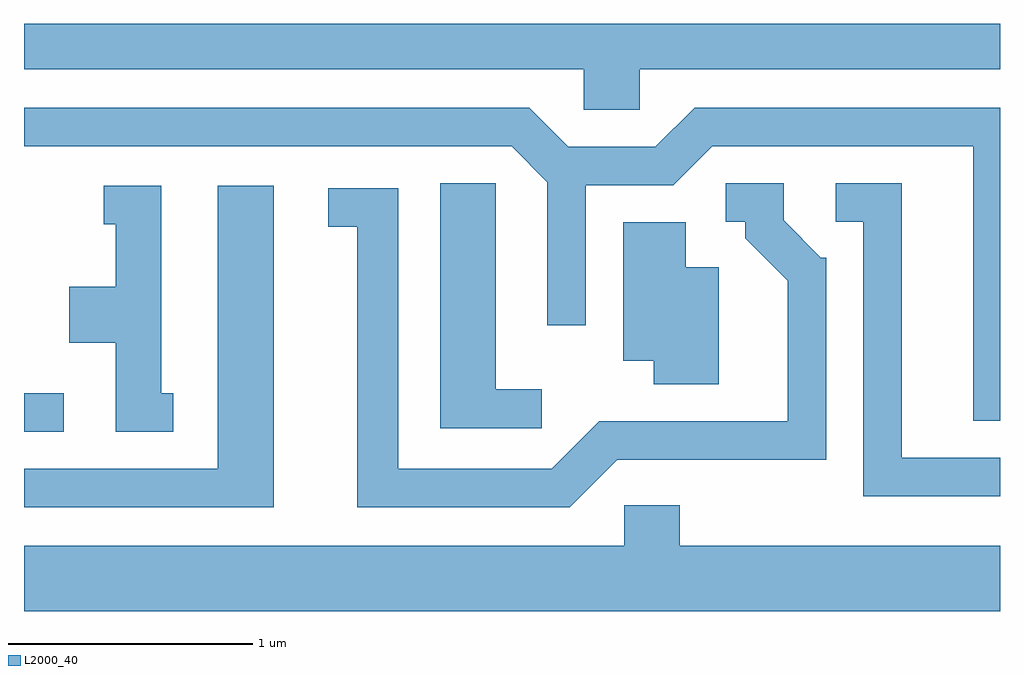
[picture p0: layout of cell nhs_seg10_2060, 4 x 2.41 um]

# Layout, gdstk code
import gdstk
lib = gdstk.Library(unit=1e-6, precision=1e-09)
def R(c, l, rs):  # rectangles x0, y0, x1, y1
    for r in rs: c.add(gdstk.rectangle(r[:2], r[2:], *l))
def P(c, l, *ps):  # polygons
    for p in ps: c.add(gdstk.Polygon(p, *l))
L2000_40 = (2000, 40)

nhs_seg10_2060 = lib.new_cell('nhs_seg10_2060')
R(nhs_seg10_2060, L2000_40, [(245.611,2136.851,245.773,2137.009)])
P(nhs_seg10_2060, L2000_40, [(248.134,2138.336),(249.611,2138.336),(249.611,2138.522),(245.611,2138.522),(245.611,2138.336),(247.906,2138.336),(247.906,2138.171),(248.134,2138.171)],
  [(249.611,2138.179),(248.359,2138.179),(248.199,2138.019),(247.842,2138.019),(247.682,2138.179),(245.611,2138.179),(245.611,2138.021),(247.609,2138.021),(247.756,2137.874),(247.756,2137.288),(247.914,2137.288),(247.914,2137.861),(248.272,2137.861),(248.432,2138.021),(249.501,2138.021),(249.501,2136.896),(249.611,2136.896)],
  [(249.611,2136.744),(249.209,2136.744),(249.209,2137.869),(248.938,2137.869),(248.938,2137.711),(249.051,2137.711),(249.051,2136.586),(249.611,2136.586)],
  [(248.042,2136.736),(248.899,2136.736),(248.899,2137.564),(248.877,2137.564),(248.724,2137.717),(248.724,2137.869),(248.488,2137.869),(248.488,2137.711),(248.566,2137.711),(248.566,2137.644),(248.741,2137.469),(248.741,2136.894),(247.969,2136.894),(247.774,2136.699),(247.144,2136.699),(247.144,2137.849),(246.858,2137.849),(246.858,2137.691),(246.976,2137.691),(246.976,2136.541),(247.847,2136.541)],
  [(247.733,2137.024),(247.544,2137.024),(247.544,2137.869),(247.316,2137.869),(247.316,2136.866),(247.733,2136.866)],
  [(246.634,2137.859),(246.406,2137.859),(246.406,2136.699),(245.611,2136.699),(245.611,2136.541),(246.634,2136.541)],
  [(246.223,2137.009),(246.174,2137.009),(246.174,2137.859),(245.938,2137.859),(245.938,2137.701),(245.986,2137.701),(245.986,2137.444),(245.796,2137.444),(245.796,2137.216),(245.986,2137.216),(245.986,2136.851),(246.223,2136.851)],
  [(248.459,2137.524),(248.324,2137.524),(248.324,2137.709),(248.066,2137.709),(248.066,2137.141),(248.191,2137.141),(248.191,2137.046),(248.459,2137.046)],
  [(249.611,2136.384),(248.299,2136.384),(248.299,2136.549),(248.071,2136.549),(248.071,2136.384),(245.611,2136.384),(245.611,2136.116),(249.611,2136.116)])

lib.write_gds('nhs_seg10_2060.gds')
